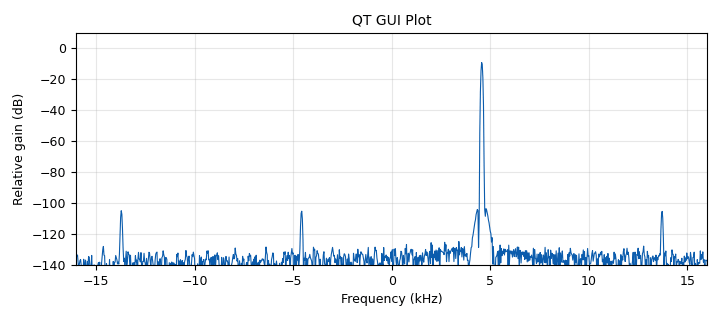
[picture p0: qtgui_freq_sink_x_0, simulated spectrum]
<?xml version='1.0' encoding='utf-8'?>
<flow_graph>
<block>
<key>options</key>
<param><key>id</key><value>demo_two_tone</value></param>
<param><key>author</key><value>mettus</value></param>
<param><key>generate_options</key><value>qt_gui</value></param>
<param><key>category</key><value>Custom</value></param>
</block>
<block>
<key>variable</key>
<param><key>id</key><value>samp_rate</value></param>
<param><key>value</key><value>32000</value></param>
</block>
<block>
<key>variable</key>
<param><key>id</key><value>const_size</value></param>
<param><key>value</key><value>4</value></param>
</block>
<block>
<key>blocks_throttle</key>
<param><key>id</key><value>blocks_throttle_0</value></param>
<param><key>type</key><value>complex</value></param>
<param><key>samples_per_second</key><value>samp_rate</value></param>
</block>
<block>
<key>channels_impairments</key>
<param><key>id</key><value>channels_impairments_0</value></param>
<param><key>phase_noise_mag</key><value>phase_noise_mag</value></param>
<param><key>magbal</key><value>magbal</value></param>
<param><key>phasebal</key><value>0</value></param>
<param><key>q_ofs</key><value>q_ofs</value></param>
<param><key>i_ofs</key><value>i_ofs</value></param>
<param><key>freq_offset</key><value>0</value></param>
<param><key>gamma</key><value>gamma</value></param>
<param><key>beta</key><value>beta</value></param>
</block>
<block>
<key>blocks_add_xx</key>
<param><key>id</key><value>blocks_add_xx_0</value></param>
<param><key>type</key><value>complex</value></param>
<param><key>num_inputs</key><value>3</value></param>
</block>
<block>
<key>analog_sig_source_x</key>
<param><key>id</key><value>analog_sig_source_x_0</value></param>
<param><key>type</key><value>complex</value></param>
<param><key>samp_rate</key><value>samp_rate</value></param>
<param><key>waveform</key><value>analog.GR_COS_WAVE</value></param>
<param><key>freq</key><value>f2</value></param>
<param><key>amp</key><value>pow(10,sig_amp/20.0)*twotones</value></param>
<param><key>offset</key><value>0</value></param>
</block>
<block>
<key>analog_sig_source_x</key>
<param><key>id</key><value>analog_sig_source_x_1</value></param>
<param><key>type</key><value>complex</value></param>
<param><key>samp_rate</key><value>samp_rate</value></param>
<param><key>waveform</key><value>analog.GR_COS_WAVE</value></param>
<param><key>freq</key><value>f1</value></param>
<param><key>amp</key><value>pow(10,sig_amp/20.0)</value></param>
<param><key>offset</key><value>0</value></param>
</block>
<block>
<key>analog_noise_source_x</key>
<param><key>id</key><value>analog_noise_source_x_0</value></param>
<param><key>type</key><value>complex</value></param>
<param><key>noise_type</key><value>analog.GR_GAUSSIAN</value></param>
<param><key>amp</key><value>.00001</value></param>
<param><key>seed</key><value>42</value></param>
</block>
<block>
<key>import</key>
<param><key>id</key><value>import_0</value></param>
<param><key>import</key><value>import math</value></param>
</block>
<block>
<key>channels_phase_bal</key>
<param><key>id</key><value>channels_phase_bal_0</value></param>
<param><key>_enabled</key><value>False</value></param>
<param><key>alpha</key><value>0.00001</value></param>
</block>
<block>
<key>channels_amp_bal</key>
<param><key>id</key><value>channels_amp_bal_0</value></param>
<param><key>alpha</key><value>0.0001</value></param>
</block>
<block>
<key>variable_qtgui_range</key>
<param><key>id</key><value>sig_amp</value></param>
<param><key>label</key><value>Signal Power (dB)</value></param>
<param><key>value</key><value>0</value></param>
<param><key>start</key><value>-100</value></param>
<param><key>stop</key><value>0</value></param>
<param><key>step</key><value>1</value></param>
<param><key>orient</key><value>Qt.Horizontal</value></param>
<param><key>gui_hint</key><value>1,0,1,1</value></param>
</block>
<block>
<key>variable_qtgui_range</key>
<param><key>id</key><value>phase_noise_mag</value></param>
<param><key>label</key><value>Phase Noise Mag (dB)</value></param>
<param><key>value</key><value>-100</value></param>
<param><key>start</key><value>-100</value></param>
<param><key>stop</key><value>0</value></param>
<param><key>step</key><value>1</value></param>
<param><key>orient</key><value>Qt.Horizontal</value></param>
<param><key>gui_hint</key><value>1,1,1,1</value></param>
</block>
<block>
<key>variable_qtgui_range</key>
<param><key>id</key><value>f1</value></param>
<param><key>label</key><value>f1</value></param>
<param><key>value</key><value>samp_rate/7.0</value></param>
<param><key>start</key><value>-samp_rate/2</value></param>
<param><key>stop</key><value>samp_rate/2</value></param>
<param><key>step</key><value>1</value></param>
<param><key>orient</key><value>Qt.Horizontal</value></param>
<param><key>gui_hint</key><value>2,0,1,1</value></param>
</block>
<block>
<key>variable_qtgui_range</key>
<param><key>id</key><value>f2</value></param>
<param><key>label</key><value>f2</value></param>
<param><key>value</key><value>samp_rate/9.0</value></param>
<param><key>start</key><value>-samp_rate/2</value></param>
<param><key>stop</key><value>samp_rate/2</value></param>
<param><key>step</key><value>1</value></param>
<param><key>orient</key><value>Qt.Horizontal</value></param>
<param><key>gui_hint</key><value>2,1,1,1</value></param>
</block>
<block>
<key>variable_qtgui_range</key>
<param><key>id</key><value>magbal</value></param>
<param><key>label</key><value>IQ Magnitude Imbalance</value></param>
<param><key>value</key><value>0</value></param>
<param><key>start</key><value>0</value></param>
<param><key>stop</key><value>10</value></param>
<param><key>step</key><value>0.1</value></param>
<param><key>orient</key><value>Qt.Horizontal</value></param>
<param><key>gui_hint</key><value>3,0,1,1</value></param>
</block>
<block>
<key>variable_qtgui_range</key>
<param><key>id</key><value>phasebal</value></param>
<param><key>label</key><value>IQ Phase Imbalance</value></param>
<param><key>value</key><value>0</value></param>
<param><key>start</key><value>0</value></param>
<param><key>stop</key><value>45</value></param>
<param><key>step</key><value>0.1</value></param>
<param><key>orient</key><value>Qt.Horizontal</value></param>
<param><key>gui_hint</key><value>3,1,1,1</value></param>
</block>
<block>
<key>variable_qtgui_range</key>
<param><key>id</key><value>gamma</value></param>
<param><key>label</key><value>k2 (IP2)</value></param>
<param><key>value</key><value>0</value></param>
<param><key>start</key><value>-.1</value></param>
<param><key>stop</key><value>0</value></param>
<param><key>step</key><value>0.001</value></param>
<param><key>orient</key><value>Qt.Horizontal</value></param>
<param><key>gui_hint</key><value>4,1,1,1</value></param>
</block>
<block>
<key>variable_qtgui_range</key>
<param><key>id</key><value>beta</value></param>
<param><key>label</key><value>k3 (IP3)</value></param>
<param><key>value</key><value>0</value></param>
<param><key>start</key><value>-.1</value></param>
<param><key>stop</key><value>0</value></param>
<param><key>step</key><value>0.001</value></param>
<param><key>orient</key><value>Qt.Horizontal</value></param>
<param><key>gui_hint</key><value>4,0,1,1</value></param>
</block>
<block>
<key>variable_qtgui_check_box</key>
<param><key>id</key><value>twotones</value></param>
<param><key>label</key><value>Two Tones?</value></param>
<param><key>type</key><value>bool</value></param>
<param><key>value</key><value>False</value></param>
<param><key>true</key><value>True</value></param>
<param><key>false</key><value>False</value></param>
<param><key>gui_hint</key><value>0,0,1,1</value></param>
</block>
<block>
<key>variable_qtgui_range</key>
<param><key>id</key><value>q_ofs</value></param>
<param><key>label</key><value>Q offset</value></param>
<param><key>value</key><value>0</value></param>
<param><key>start</key><value>-1</value></param>
<param><key>stop</key><value>1</value></param>
<param><key>step</key><value>0.001</value></param>
<param><key>orient</key><value>Qt.Horizontal</value></param>
<param><key>gui_hint</key><value>5,1,1,1</value></param>
</block>
<block>
<key>variable_qtgui_range</key>
<param><key>id</key><value>i_ofs</value></param>
<param><key>label</key><value>I offset</value></param>
<param><key>value</key><value>0</value></param>
<param><key>start</key><value>-1</value></param>
<param><key>stop</key><value>1</value></param>
<param><key>step</key><value>0.001</value></param>
<param><key>orient</key><value>Qt.Horizontal</value></param>
<param><key>gui_hint</key><value>5,0,1,1</value></param>
</block>
<block>
<key>qtgui_freq_sink_x</key>
<param><key>id</key><value>qtgui_freq_sink_x_0</value></param>
<param><key>type</key><value>complex</value></param>
<param><key>name</key><value>QT GUI Plot</value></param>
<param><key>fftsize</key><value>1024</value></param>
<param><key>wintype</key><value>firdes.WIN_BLACKMAN_hARRIS</value></param>
<param><key>fc</key><value>0</value></param>
<param><key>bw</key><value>samp_rate</value></param>
<param><key>gui_hint</key><value>6,0,1,2</value></param>
</block>
<connection><source_block_id>channels_impairments_0</source_block_id><sink_block_id>channels_phase_bal_0</sink_block_id><source_key>0</source_key><sink_key>0</sink_key></connection>
<connection><source_block_id>channels_impairments_0</source_block_id><sink_block_id>channels_amp_bal_0</sink_block_id><source_key>0</source_key><sink_key>0</sink_key></connection>
<connection><source_block_id>blocks_throttle_0</source_block_id><sink_block_id>channels_impairments_0</sink_block_id><source_key>0</source_key><sink_key>0</sink_key></connection>
<connection><source_block_id>analog_noise_source_x_0</source_block_id><sink_block_id>blocks_add_xx_0</sink_block_id><source_key>0</source_key><sink_key>2</sink_key></connection>
<connection><source_block_id>analog_sig_source_x_1</source_block_id><sink_block_id>blocks_add_xx_0</sink_block_id><source_key>0</source_key><sink_key>0</sink_key></connection>
<connection><source_block_id>analog_sig_source_x_0</source_block_id><sink_block_id>blocks_add_xx_0</sink_block_id><source_key>0</source_key><sink_key>1</sink_key></connection>
<connection><source_block_id>blocks_add_xx_0</source_block_id><sink_block_id>blocks_throttle_0</sink_block_id><source_key>0</source_key><sink_key>0</sink_key></connection>
<connection><source_block_id>channels_phase_bal_0</source_block_id><sink_block_id>qtgui_freq_sink_x_0</sink_block_id><source_key>0</source_key><sink_key>0</sink_key></connection>
<connection><source_block_id>channels_amp_bal_0</source_block_id><sink_block_id>qtgui_freq_sink_x_0</sink_block_id><source_key>0</source_key><sink_key>0</sink_key></connection>
</flow_graph>
